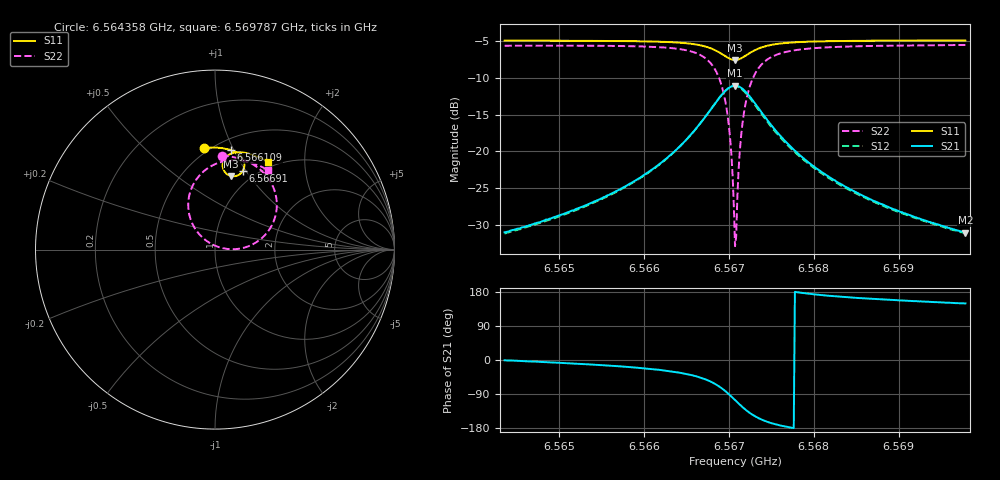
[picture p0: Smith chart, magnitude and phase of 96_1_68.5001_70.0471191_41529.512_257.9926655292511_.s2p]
#  HZ  S  RI  R  50.00
! Rohde & Schwarz Vector Network Analyzer
! Rohde-Schwarz,ZNB20-2Port,1311601062101988,3.16
! Created: UTC 3/20/2024, 5:08:00 PM
! freq[Hz]  re:S11  im:S11  re:S21  im:S21  re:S12  im:S12  re:S22  im:S22
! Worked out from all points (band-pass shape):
!   401 points, 6.564358 GHz to 6.569787 GHz, reference 50 ohm
!   highest |S21| = -11.03 dB at 6.567073 GHz (marker M1); lowest = -31.1 dB at 6.569787 GHz (marker M2)
!   |S21| within 3 dB of the highest: 6.566802 GHz to 6.567345 GHz (542.4 kHz wide, 0.00826 % of centre)
!   lowest |S11| = -7.5 dB at 6.567073 GHz (marker M3), VSWR 2.45, Z = 41.3 + j41.1 ohm
!   |S11| at or under -10 dB: nowhere
!   |S22| runs from -32.9 to -5.5 dB; largest |S21 - S12| = 0.013
!   S11 on the Smith chart (normalised r, x): 6.564358 GHz: 0.47, +0.78; 6.566109 GHz: 0.60, +0.98; 6.56691 GHz: 0.86, +0.97; 6.569787 GHz: 0.91, +1.33
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6.5643579e9  -0.0628 0.5656  0.028 -0.00034  0.0276 -0.000767  0.0367 0.5241
6.5652673e9  0.0118 0.5678  0.0412 -0.0076  0.0405 -0.00819  0.123 0.5111
6.5661089e9  0.0902 0.5539  0.0696 -0.0312  0.0685 -0.032  0.2322 0.461
6.5661767e9  0.0974 0.5514  0.0733 -0.0356  0.0724 -0.0364  0.244 0.4524
6.5664753e9  0.1319 0.5321  0.0944 -0.0677  0.0929 -0.0692  0.3027 0.3887
6.5666925e9  0.1568 0.5008  0.1083 -0.1221  0.1057 -0.1246  0.3422 0.2839
6.5668147e9  0.1635 0.4695  0.1008 -0.1766  0.0965 -0.1799  0.3345 0.18
6.5669097e9  0.1545 0.4381  0.0682 -0.2307  0.0606 -0.2337  0.2763 0.0787
6.566964e9  0.1394 0.4212  0.0314 -0.2586  0.0215 -0.26  0.2089 0.0284
6.5670047e9  0.123 0.412  -0.00537 -0.2722  -0.0166 -0.2714  0.1417 0.0059
6.5670318e9  0.1103 0.409  -0.033 -0.2756  -0.0448 -0.273  0.0919 0.00185
6.567059e9  0.0966 0.4088  -0.0616 -0.2736  -0.0733 -0.2688  0.0412 0.00842
6.5670726e9  0.0899 0.41  -0.0756 -0.2704  -0.0872 -0.2646  0.0165 0.0154
6.5670997e9  0.077 0.4142  -0.1026 -0.26  -0.1131 -0.2523  -0.0298 0.0372
6.5671268e9  0.0655 0.4213  -0.1265 -0.2448  -0.1357 -0.2354  -0.0694 0.0669
6.5671676e9  0.0525 0.4354  -0.1546 -0.2156  -0.1611 -0.2048  -0.114 0.1216
6.5672219e9  0.0435 0.4572  -0.176 -0.1723  -0.179 -0.1613  -0.1443 0.1998
6.5672897e9  0.0436 0.4825  -0.1821 -0.123  -0.1819 -0.1132  -0.1461 0.2866
6.567534e9  0.0808 0.5308  -0.14 -0.0278  -0.137 -0.0235  -0.05 0.4466
6.567982e9  0.144 0.5422  -0.0799 0.00872  -0.078 0.00976  0.0863 0.4974
6.5688914e9  0.2285 0.5213  -0.0386 0.015  -0.0378 0.0153  0.2163 0.4795
6.5697872e9  0.2945 0.489  -0.024 0.0142  -0.0236 0.0145  0.2945 0.443
